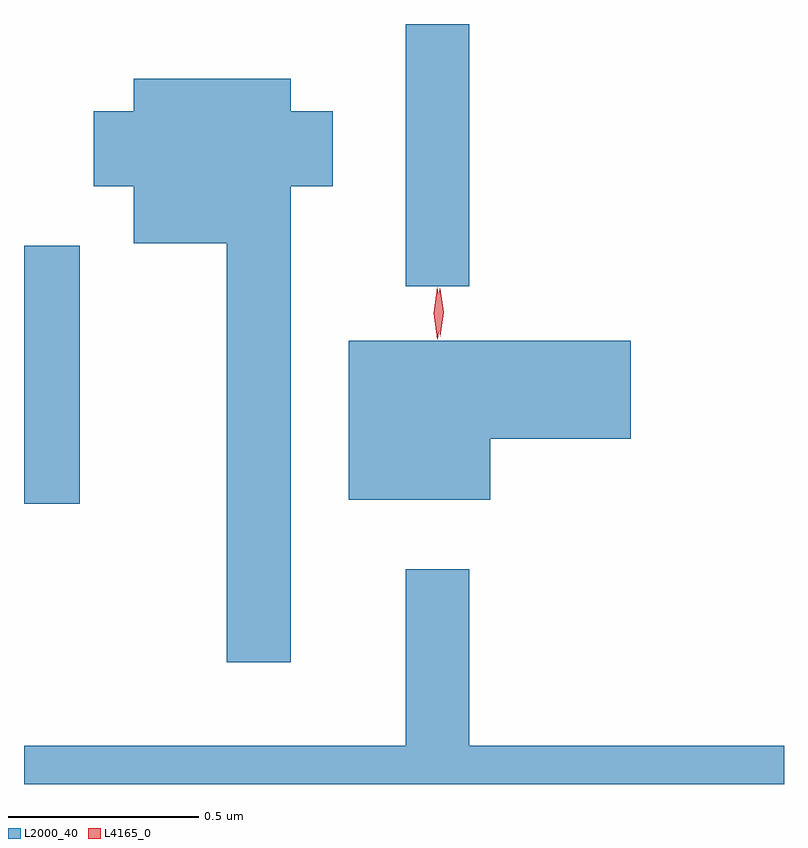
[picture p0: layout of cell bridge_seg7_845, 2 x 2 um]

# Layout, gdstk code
import gdstk
lib = gdstk.Library(unit=1e-6, precision=1e-09)
def R(c, l, rs):  # rectangles x0, y0, x1, y1
    for r in rs: c.add(gdstk.rectangle(r[:2], r[2:], *l))
def P(c, l, *ps):  # polygons
    for p in ps: c.add(gdstk.Polygon(p, *l))
L2000_40 = (2000, 40)
L4165_0 = (4165, 0)

bridge_seg7_845 = lib.new_cell('bridge_seg7_845')
R(bridge_seg7_845, L2000_40, [(231.657,1775.161,231.804,1775.839), (232.661,1775.733,232.829,1776.423)])
P(bridge_seg7_845, L2000_40, [(232.359,1775.996),(232.469,1775.996),(232.469,1776.194),(232.359,1776.194),(232.359,1776.279),(231.946,1776.279),(231.946,1776.194),(231.841,1776.194),(231.841,1775.996),(231.946,1775.996),(231.946,1775.846),(232.191,1775.846),(232.191,1774.743),(232.359,1774.743)],
  [(232.884,1775.331),(233.254,1775.331),(233.254,1775.589),(232.511,1775.589),(232.511,1775.171),(232.884,1775.171)],
  [(233.657,1774.524),(232.829,1774.524),(232.829,1774.988),(232.661,1774.988),(232.661,1774.524),(231.657,1774.524),(231.657,1774.423),(233.657,1774.423)])
P(bridge_seg7_845, L4165_0, [(232.745,1775.594),(232.735,1775.662),(232.744,1775.73),(232.745,1775.73),(232.745,1775.73),(232.755,1775.662),(232.746,1775.594),(232.746,1775.594)],
  [(232.752,1775.6),(232.752,1775.601),(232.742,1775.664),(232.751,1775.726),(232.751,1775.727),(232.752,1775.726),(232.762,1775.664),(232.753,1775.601)])

lib.write_gds('bridge_seg7_845.gds')
